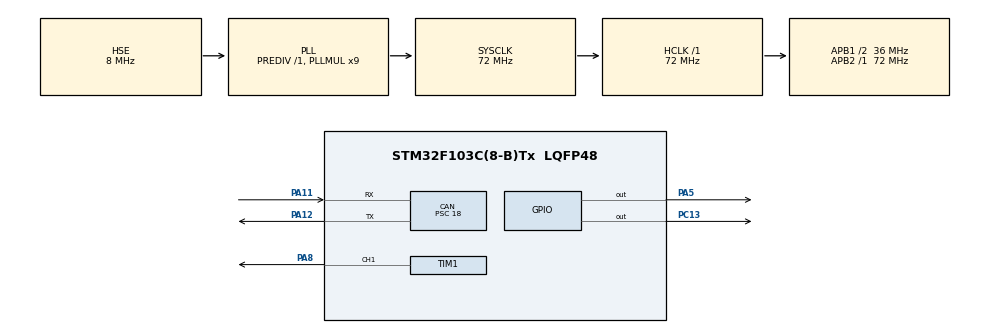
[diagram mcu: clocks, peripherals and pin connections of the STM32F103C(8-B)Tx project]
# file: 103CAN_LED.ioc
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CAN.BS1=CAN_BS1_2TQ
CAN.CalculateBaudRate=500000
CAN.CalculateTimeBit=2000
CAN.CalculateTimeQuantum=500.0
CAN.Prescaler=18
Dma.Request0=TIM1_CH1
Dma.TIM1_CH1.0.Direction=DMA_MEMORY_TO_PERIPH
Dma.TIM1_CH1.0.Instance=DMA1_Channel2
Dma.TIM1_CH1.0.MemDataAlignment=DMA_MDATAALIGN_HALFWORD
Dma.TIM1_CH1.0.MemInc=DMA_MINC_ENABLE
Dma.TIM1_CH1.0.Mode=DMA_NORMAL
Dma.TIM1_CH1.0.PeriphDataAlignment=DMA_PDATAALIGN_HALFWORD
Dma.TIM1_CH1.0.PeriphInc=DMA_PINC_DISABLE
Dma.TIM1_CH1.0.Priority=DMA_PRIORITY_LOW
Mcu.Family=STM32F1
Mcu.Name=STM32F103C(8-B)Tx
Mcu.Package=LQFP48
NVIC.CAN1_RX1_IRQn=true\:0\:0\:false\:true\:true\:1\:true\:true\:true
NVIC.DMA1_Channel2_IRQn=true\:0\:0\:false\:false\:true\:false\:true\:true
NVIC.PriorityGroup=NVIC_PRIORITYGROUP_4
PA0-WKUP.Mode=SYS_WakeUp0
PA0-WKUP.Signal=SYS_WKUP
PA11.Mode=CAN_Activate
PA11.Signal=CAN_RX
PA12.Mode=CAN_Activate
PA12.Signal=CAN_TX
PA13.Mode=Serial_Wire
PA13.Signal=SYS_JTMS-SWDIO
PA14.Mode=Serial_Wire
PA14.Signal=SYS_JTCK-SWCLK
PA5.Signal=GPIO_Output
PA8.Signal=S_TIM1_CH1
PC13-TAMPER-RTC.Signal=GPIO_Output
PD0-OSC_IN.Mode=HSE-External-Oscillator
PD0-OSC_IN.Signal=RCC_OSC_IN
PD1-OSC_OUT.Mode=HSE-External-Oscillator
PD1-OSC_OUT.Signal=RCC_OSC_OUT
ProjectManager.HeapSize=0x200
ProjectManager.StackSize=0x400
ProjectManager.TargetToolchain=STM32CubeIDE
RCC.AHBFreq_Value=72000000
RCC.APB1CLKDivider=RCC_HCLK_DIV2
RCC.APB1Freq_Value=36000000
RCC.APB1TimFreq_Value=72000000
RCC.APB2Freq_Value=72000000
RCC.APB2TimFreq_Value=72000000
RCC.HCLKFreq_Value=72000000
RCC.PLLMUL=RCC_PLL_MUL9
RCC.PLLSourceVirtual=RCC_PLLSOURCE_HSE
RCC.SYSCLKFreq_VALUE=72000000
RCC.SYSCLKSource=RCC_SYSCLKSOURCE_PLLCLK
RCC.USBFreq_Value=72000000
SH.S_TIM1_CH1.0=TIM1_CH1,PWM Generation1 CH1
TIM1.Channel-PWM\ Generation1\ CH1=TIM_CHANNEL_1
TIM1.Period=90 - 1
board=custom

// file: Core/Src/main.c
/* USER CODE BEGIN Header */
/**
  ******************************************************************************
  * @file           : main.c
  * @brief          : Main program body
  ******************************************************************************
  * @attention
  *
  * Copyright (c) 2024 STMicroelectronics.
  * All rights reserved.
  *
  * This software is licensed under terms that can be found in the LICENSE file
  * in the root directory of this software component.
  * If no LICENSE file comes with this software, it is provided AS-IS.
  *
  ******************************************************************************
  */
/* USER CODE END Header */
#include "main.h"

CAN_HandleTypeDef hcan;
TIM_HandleTypeDef htim1;
DMA_HandleTypeDef hdma_tim1_ch1;

/* USER CODE BEGIN PV */
CAN_RxHeaderTypeDef RxHeader;

uint8_t RxData[8];

uint32_t TxMailbox;

/* USER CODE END PV */

void SystemClock_Config(void);
static void MX_GPIO_Init(void);
static void MX_DMA_Init(void);
static void MX_CAN_Init(void);
static void MX_TIM1_Init(void);
static void MX_NVIC_Init(void);

/* USER CODE BEGIN 0 */
int s_red = 255;
int s_gre = 0;
int s_blu = 0;
int s_bri = 100;
int auto_flag = 0;
#define LED_MAX 5 // LED cnt
volatile uint8_t can_message_received = 0;
volatile int datasentflag = 0;

uint8_t LED_Data[LED_MAX][3];  // Red, Green, Blue
uint16_t pwmData[(24 * LED_MAX) + 50];

void HAL_TIM_PWM_PulseFinishedCallback(TIM_HandleTypeDef *htim){
    HAL_TIM_PWM_Stop_DMA(&htim1, TIM_CHANNEL_1);
    datasentflag = 1;
}

// 색상 설정 함수
void Set_Color(int Red, int Green, int Blue) {
	float brightnessFactor;
	if(auto_flag == 0){
		s_red = Red, s_gre = Green, s_blu = Blue;
		brightnessFactor = s_bri / 100.0;
	}
	else{
		brightnessFactor = 100 / 100.0;
	}

    for (int i = 0; i < LED_MAX; i++) {
        LED_Data[i][0] = (uint8_t)(Green * brightnessFactor);         // Green
        LED_Data[i][1] = (uint8_t)(Red * brightnessFactor);           // Red
        LED_Data[i][2] = (uint8_t)(Blue * brightnessFactor);          // Blue
    }
}

// 밝기 조절 함수
void Set_Brightness(int brightness){
    if (brightness > 100)
    	brightness = 100;  // 밝기 최대값 제한
    if(RxData[0] != 0)
    	s_bri = brightness;
    float brightnessFactor = brightness / 100.0;  // 0.0에서 1.0 사이 비율로 변환

    for (int i = 0; i < LED_MAX; i++){
        LED_Data[i][0] = (uint8_t)(s_gre * brightnessFactor);  // Green 밝기 조정
        LED_Data[i][1] = (uint8_t)(s_red * brightnessFactor);  // Red 밝기 조정
        LED_Data[i][2] = (uint8_t)(s_blu * brightnessFactor);  // Blue 밝기 조정
    }
}

void WS2812_Send(){

    uint32_t indx = 0;
    uint32_t color;

    for (int i = 0; i < LED_MAX; i++){
        color = ((LED_Data[i][0] << 16) | (LED_Data[i][1] << 8) | (LED_Data[i][2]));

        for (int j = 23; j >= 0; j--){
            if (color & (1 << j)){
                pwmData[indx] = 60;  // 2/3 of 90
            }
            else{
                pwmData[indx] = 30;  // 1/3 of 90
            }
            indx++;
        }
    }

    for (int i = 0; i < 50; i++){
        pwmData[indx] = 0;
        indx++;
    }

    datasentflag = 0;
    HAL_TIM_PWM_Start_DMA(&htim1, TIM_CHANNEL_1, (uint32_t *)pwmData, indx);
    uint32_t timeout = HAL_GetTick();
    while (!datasentflag) {
        if ((HAL_GetTick() - timeout) > 100) {  // 100ms 타임아웃
            HAL_TIM_PWM_Stop_DMA(&htim1, TIM_CHANNEL_1); // DMA 전송 중지
            break;
        }
    }
    datasentflag = 0;
}

void HAL_CAN_RxFifo1MsgPendingCallback(CAN_HandleTypeDef *hcan){

    HAL_CAN_GetRxMessage(hcan, CAN_RX_FIFO1, &RxHeader, RxData);

    if (RxHeader.StdId == 0x102) {

    	HAL_GPIO_TogglePin(GPIOC, GPIO_PIN_13);
    	can_message_received = 1;

        if (RxData[0] == 0) { // off
            //HAL_GPIO_WritePin(GPIOA, GPIO_PIN_5, 1);
        	Set_Brightness(0);
        }
        else if (RxData[0] == 1) { // on
            //HAL_GPIO_WritePin(GPIOA, GPIO_PIN_5, 0);
            Set_Color(s_red, s_gre, s_blu);
        }
        else if (RxData[0] == 2){ // brightness
        	Set_Brightness(RxData[4]);

        }
        else if (RxData[0] == 3){ //change color
        	Set_Color(RxData[1], RxData[2], RxData[3]);
        }
        auto_flag = 0;
    }
    else if(RxHeader.StdId == 0x200){
    	if(RxData[0] == 1){
        	auto_flag = 1;
    	}
    	else if(RxData[0] == 0){
    		Set_Brightness(0);
    		auto_flag = 0;
    		can_message_received = 1;
    	}
    }

    HAL_CAN_ActivateNotification(&hcan, CAN_IT_RX_FIFO1_MSG_PENDING);
}

/* USER CODE END 0 */

int main(void)
{

  /* MCU Configuration--------------------------------------------------------*/

  /* Reset of all peripherals, Initializes the Flash interface and the Systick. */
  HAL_Init();

  /* Configure the system clock */
  SystemClock_Config();

  /* Initialize all configured peripherals */
  MX_GPIO_Init();
  MX_DMA_Init();
  MX_CAN_Init();
  MX_TIM1_Init();

  /* Initialize interrupts */
  MX_NVIC_Init();
  /* USER CODE BEGIN 2 */
  Set_Color(s_red, s_gre, s_blu);
  Set_Brightness(100);
  //WS2812_Send();

  HAL_CAN_Start(&hcan);

  //Activate the Notification
  HAL_CAN_ActivateNotification(&hcan, CAN_IT_RX_FIFO1_MSG_PENDING);

  /* USER CODE END 2 */

  /* Infinite loop */
  /* USER CODE BEGIN WHILE */
  while (1)
  {
	  if(can_message_received && auto_flag != 1){
	        can_message_received = 0;
	        WS2812_Send();
	  }
	  if(auto_flag == 1){
		  Set_Color(255, 0, 0);
		  WS2812_Send();
		  HAL_Delay(200);
		  Set_Color(0, 0, 255);
		  WS2812_Send();
		  HAL_Delay(200);
		  if(auto_flag == 0)
			  Set_Brightness(0);
	  }
    /* USER CODE END WHILE */

  }
}

void SystemClock_Config(void)
{
  RCC_OscInitTypeDef RCC_OscInitStruct = {0};
  RCC_ClkInitTypeDef RCC_ClkInitStruct = {0};

  /** Initializes the RCC Oscillators according to the specified parameters
  * in the RCC_OscInitTypeDef structure.
  */
  RCC_OscInitStruct.OscillatorType = RCC_OSCILLATORTYPE_HSE;
  RCC_OscInitStruct.HSEState = RCC_HSE_ON;
  RCC_OscInitStruct.HSEPredivValue = RCC_HSE_PREDIV_DIV1;
  RCC_OscInitStruct.HSIState = RCC_HSI_ON;
  RCC_OscInitStruct.PLL.PLLState = RCC_PLL_ON;
  RCC_OscInitStruct.PLL.PLLSource = RCC_PLLSOURCE_HSE;
  RCC_OscInitStruct.PLL.PLLMUL = RCC_PLL_MUL9;
  if (HAL_RCC_OscConfig(&RCC_OscInitStruct) != HAL_OK)
  {
    Error_Handler();
  }

  /** Initializes the CPU, AHB and APB buses clocks
  */
  RCC_ClkInitStruct.ClockType = RCC_CLOCKTYPE_HCLK|RCC_CLOCKTYPE_SYSCLK
                              |RCC_CLOCKTYPE_PCLK1|RCC_CLOCKTYPE_PCLK2;
  RCC_ClkInitStruct.SYSCLKSource = RCC_SYSCLKSOURCE_PLLCLK;
  RCC_ClkInitStruct.AHBCLKDivider = RCC_SYSCLK_DIV1;
  RCC_ClkInitStruct.APB1CLKDivider = RCC_HCLK_DIV2;
  RCC_ClkInitStruct.APB2CLKDivider = RCC_HCLK_DIV1;

  if (HAL_RCC_ClockConfig(&RCC_ClkInitStruct, FLASH_LATENCY_2) != HAL_OK)
  {
    Error_Handler();
  }
}

/**
  * @brief NVIC Configuration.
  * @retval None
  */
static void MX_NVIC_Init(void)
{
  /* CAN1_RX1_IRQn interrupt configuration */
  HAL_NVIC_SetPriority(CAN1_RX1_IRQn, 0, 0);
  HAL_NVIC_EnableIRQ(CAN1_RX1_IRQn);
}

static void MX_CAN_Init(void)
{

  hcan.Instance = CAN1;
  hcan.Init.Prescaler = 18;
  hcan.Init.Mode = CAN_MODE_NORMAL;
  hcan.Init.SyncJumpWidth = CAN_SJW_1TQ;
  hcan.Init.TimeSeg1 = CAN_BS1_2TQ;
  hcan.Init.TimeSeg2 = CAN_BS2_1TQ;
  hcan.Init.TimeTriggeredMode = DISABLE;
  hcan.Init.AutoBusOff = DISABLE;
  hcan.Init.AutoWakeUp = DISABLE;
  hcan.Init.AutoRetransmission = DISABLE;
  hcan.Init.ReceiveFifoLocked = DISABLE;
  hcan.Init.TransmitFifoPriority = DISABLE;
  if (HAL_CAN_Init(&hcan) != HAL_OK)
  {
    Error_Handler();
  }
  /* USER CODE BEGIN CAN_Init 2 */

  CAN_FilterTypeDef canFilter;
  canFilter.FilterActivation = CAN_FILTER_ENABLE;
  canFilter.FilterBank = 10;
  canFilter.FilterFIFOAssignment = CAN_FILTER_FIFO1;
  canFilter.FilterIdHigh = 0x102 << 5;
  canFilter.FilterIdLow = 0;
  canFilter.FilterMaskIdHigh = 0x102 << 5;
  canFilter.FilterMaskIdLow = 0x0000;
  canFilter.FilterMode = CAN_FILTERMODE_IDMASK;
  canFilter.FilterScale = CAN_FILTERSCALE_32BIT;
  canFilter.SlaveStartFilterBank = 0;

  HAL_CAN_ConfigFilter(&hcan, &canFilter);

  CAN_FilterTypeDef canFilter_auto;
  canFilter_auto.FilterActivation = CAN_FILTER_ENABLE;
  canFilter_auto.FilterBank = 9;
  canFilter_auto.FilterFIFOAssignment = CAN_FILTER_FIFO1;
  canFilter_auto.FilterIdHigh = 0x200 << 5;
  canFilter_auto.FilterIdLow = 0;
  canFilter_auto.FilterMaskIdHigh = 0x200 << 5;
  canFilter_auto.FilterMaskIdLow = 0x0000;
  canFilter_auto.FilterMode = CAN_FILTERMODE_IDMASK;
  canFilter_auto.FilterScale = CAN_FILTERSCALE_32BIT;
  canFilter_auto.SlaveStartFilterBank = 0;

  HAL_CAN_ConfigFilter(&hcan, &canFilter_auto);

  /* USER CODE END CAN_Init 2 */

}

static void MX_TIM1_Init(void)
{

  TIM_MasterConfigTypeDef sMasterConfig = {0};
  TIM_OC_InitTypeDef sConfigOC = {0};
  TIM_BreakDeadTimeConfigTypeDef sBreakDeadTimeConfig = {0};

  htim1.Instance = TIM1;
  htim1.Init.Prescaler = 0;
  htim1.Init.CounterMode = TIM_COUNTERMODE_UP;
  htim1.Init.Period = 90 - 1;
  htim1.Init.ClockDivision = TIM_CLOCKDIVISION_DIV1;
  htim1.Init.RepetitionCounter = 0;
  htim1.Init.AutoReloadPreload = TIM_AUTORELOAD_PRELOAD_DISABLE;
  if (HAL_TIM_PWM_Init(&htim1) != HAL_OK)
  {
    Error_Handler();
  }
  sMasterConfig.MasterOutputTrigger = TIM_TRGO_RESET;
  sMasterConfig.MasterSlaveMode = TIM_MASTERSLAVEMODE_DISABLE;
  if (HAL_TIMEx_MasterConfigSynchronization(&htim1, &sMasterConfig) != HAL_OK)
  {
    Error_Handler();
  }
  sConfigOC.OCMode = TIM_OCMODE_PWM1;
  sConfigOC.Pulse = 0;
  sConfigOC.OCPolarity = TIM_OCPOLARITY_HIGH;
  sConfigOC.OCNPolarity = TIM_OCNPOLARITY_HIGH;
  sConfigOC.OCFastMode = TIM_OCFAST_DISABLE;
  sConfigOC.OCIdleState = TIM_OCIDLESTATE_RESET;
  sConfigOC.OCNIdleState = TIM_OCNIDLESTATE_RESET;
  if (HAL_TIM_PWM_ConfigChannel(&htim1, &sConfigOC, TIM_CHANNEL_1) != HAL_OK)
  {
    Error_Handler();
  }
  sBreakDeadTimeConfig.OffStateRunMode = TIM_OSSR_DISABLE;
  sBreakDeadTimeConfig.OffStateIDLEMode = TIM_OSSI_DISABLE;
  sBreakDeadTimeConfig.LockLevel = TIM_LOCKLEVEL_OFF;
  sBreakDeadTimeConfig.DeadTime = 0;
  sBreakDeadTimeConfig.BreakState = TIM_BREAK_DISABLE;
  sBreakDeadTimeConfig.BreakPolarity = TIM_BREAKPOLARITY_HIGH;
  sBreakDeadTimeConfig.AutomaticOutput = TIM_AUTOMATICOUTPUT_DISABLE;
  if (HAL_TIMEx_ConfigBreakDeadTime(&htim1, &sBreakDeadTimeConfig) != HAL_OK)
  {
    Error_Handler();
  }
  HAL_TIM_MspPostInit(&htim1);

}

static void MX_DMA_Init(void)
{

  /* DMA controller clock enable */
  __HAL_RCC_DMA1_CLK_ENABLE();

  /* DMA interrupt init */
  /* DMA1_Channel2_IRQn interrupt configuration */
  HAL_NVIC_SetPriority(DMA1_Channel2_IRQn, 0, 0);
  HAL_NVIC_EnableIRQ(DMA1_Channel2_IRQn);

}

static void MX_GPIO_Init(void)
{
  GPIO_InitTypeDef GPIO_InitStruct = {0};

  /* GPIO Ports Clock Enable */
  __HAL_RCC_GPIOC_CLK_ENABLE();
  __HAL_RCC_GPIOD_CLK_ENABLE();
  __HAL_RCC_GPIOA_CLK_ENABLE();

  /*Configure GPIO pin Output Level */
  HAL_GPIO_WritePin(GPIOC, GPIO_PIN_13, GPIO_PIN_RESET);

  /*Configure GPIO pin Output Level */
  HAL_GPIO_WritePin(GPIOA, GPIO_PIN_5, GPIO_PIN_RESET);

  /*Configure GPIO pin : PC13 */
  GPIO_InitStruct.Pin = GPIO_PIN_13;
  GPIO_InitStruct.Mode = GPIO_MODE_OUTPUT_PP;
  GPIO_InitStruct.Pull = GPIO_NOPULL;
  GPIO_InitStruct.Speed = GPIO_SPEED_FREQ_LOW;
  HAL_GPIO_Init(GPIOC, &GPIO_InitStruct);

  /*Configure GPIO pin : PA5 */
  GPIO_InitStruct.Pin = GPIO_PIN_5;
  GPIO_InitStruct.Mode = GPIO_MODE_OUTPUT_PP;
  GPIO_InitStruct.Pull = GPIO_NOPULL;
  GPIO_InitStruct.Speed = GPIO_SPEED_FREQ_LOW;
  HAL_GPIO_Init(GPIOA, &GPIO_InitStruct);

}

void Error_Handler(void)
{
  __disable_irq();
  while (1)
  {
  }
}
